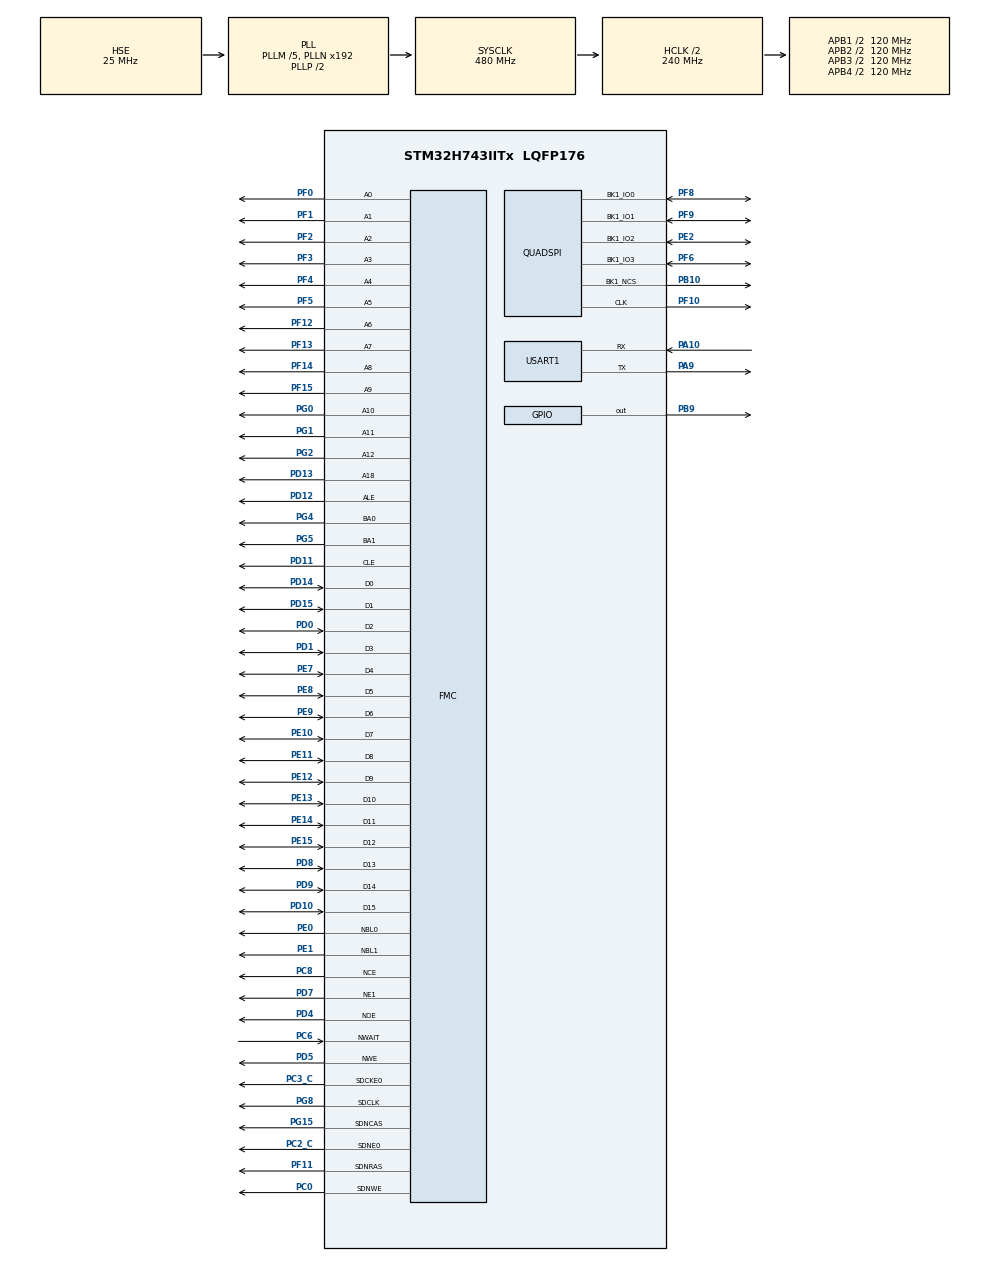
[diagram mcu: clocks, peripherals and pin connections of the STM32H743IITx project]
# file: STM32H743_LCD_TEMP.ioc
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CORTEX_M7.AccessPermission-Cortex_Memory_Protection_Unit_Region0_Settings=MPU_REGION_FULL_ACCESS
CORTEX_M7.AccessPermission-Cortex_Memory_Protection_Unit_Region1_Settings=MPU_REGION_FULL_ACCESS
CORTEX_M7.BaseAddress-Cortex_Memory_Protection_Unit_Region0_Settings=0x60000000
CORTEX_M7.BaseAddress-Cortex_Memory_Protection_Unit_Region1_Settings=0xC0000000
CORTEX_M7.CPU_DCache=Enabled
CORTEX_M7.CPU_ICache=Disabled
CORTEX_M7.Enable-Cortex_Memory_Protection_Unit_Region0_Settings=MPU_REGION_ENABLE
CORTEX_M7.Enable-Cortex_Memory_Protection_Unit_Region1_Settings=MPU_REGION_ENABLE
CORTEX_M7.IsBufferable-Cortex_Memory_Protection_Unit_Region0_Settings=MPU_ACCESS_BUFFERABLE
CORTEX_M7.IsBufferable-Cortex_Memory_Protection_Unit_Region1_Settings=MPU_ACCESS_BUFFERABLE
CORTEX_M7.MPU_Control=MPU_PRIVILEGED_DEFAULT
CORTEX_M7.Size-Cortex_Memory_Protection_Unit_Region0_Settings=MPU_REGION_SIZE_64MB
CORTEX_M7.Size-Cortex_Memory_Protection_Unit_Region1_Settings=MPU_REGION_SIZE_32MB
Dma.MEMTOMEM.0.Direction=DMA_MEMORY_TO_MEMORY
Dma.MEMTOMEM.0.EventEnable=DISABLE
Dma.MEMTOMEM.0.FIFOMode=DMA_FIFOMODE_ENABLE
Dma.MEMTOMEM.0.FIFOThreshold=DMA_FIFO_THRESHOLD_FULL
Dma.MEMTOMEM.0.Instance=DMA1_Stream0
Dma.MEMTOMEM.0.MemBurst=DMA_MBURST_SINGLE
Dma.MEMTOMEM.0.MemDataAlignment=DMA_MDATAALIGN_HALFWORD
Dma.MEMTOMEM.0.MemInc=DMA_MINC_ENABLE
Dma.MEMTOMEM.0.Mode=DMA_NORMAL
Dma.MEMTOMEM.0.PeriphBurst=DMA_PBURST_SINGLE
Dma.MEMTOMEM.0.PeriphDataAlignment=DMA_PDATAALIGN_HALFWORD
Dma.MEMTOMEM.0.PeriphInc=DMA_PINC_ENABLE
Dma.MEMTOMEM.0.Polarity=HAL_DMAMUX_REQ_GEN_RISING
Dma.MEMTOMEM.0.Priority=DMA_PRIORITY_LOW
Dma.MEMTOMEM.0.RequestNumber=1
Dma.MEMTOMEM.0.SignalID=NONE
Dma.MEMTOMEM.0.SyncEnable=DISABLE
Dma.MEMTOMEM.0.SyncPolarity=HAL_DMAMUX_SYNC_NO_EVENT
Dma.MEMTOMEM.0.SyncRequestNumber=1
Dma.MEMTOMEM.0.SyncSignalID=NONE
Dma.Request0=MEMTOMEM
FMC.BusTurnAroundDuration1=1
FMC.CASLatency1=FMC_SDRAM_CAS_LATENCY_2
FMC.DataSetupTime1=85
FMC.ExitSelfRefreshDelay1=8
FMC.ExtendedBusTurnAroundDuration1=1
FMC.ExtendedDataSetupTime1=15
FMC.ExtendedMode1=FMC_EXTENDED_MODE_ENABLE
FMC.LoadToActiveDelay1=2
FMC.RCDDelay1=2
FMC.RPDelay1=2
FMC.ReadBurst1=FMC_SDRAM_RBURST_ENABLE
FMC.ReadPipeDelay1=FMC_SDRAM_RPIPE_DELAY_1
FMC.RowCycleDelay1=6
FMC.SDClockPeriod1=FMC_SDRAM_CLOCK_PERIOD_2
FMC.SelfRefreshTime1=6
FMC.WriteFifo1=FMC_WRITE_FIFO_DISABLE
FMC.WriteRecoveryTime1=4
Mcu.Family=STM32H7
Mcu.Name=STM32H743IITx
Mcu.Package=LQFP176
NVIC.DMA1_Stream0_IRQn=true\:0\:0\:false\:false\:true\:true\:true
NVIC.PriorityGroup=NVIC_PRIORITYGROUP_4
NVIC.TIM3_IRQn=true\:0\:0\:false\:false\:true\:true\:true
PA10.Mode=Asynchronous
PA10.Signal=USART1_RX
PA13\ (JTMS/SWDIO).Mode=Serial_Wire
PA13\ (JTMS/SWDIO).Signal=DEBUG_JTMS-SWDIO
PA14\ (JTCK/SWCLK).Mode=Serial_Wire
PA14\ (JTCK/SWCLK).Signal=DEBUG_JTCK-SWCLK
PA9.Mode=Asynchronous
PA9.Signal=USART1_TX
PB10.Mode=Single Bank 1
PB10.Signal=QUADSPI_BK1_NCS
PB9.Signal=GPIO_Output
PC0.Signal=FMC_SDNWE
PC2_C.Mode=SdramChipSelect1_1
PC2_C.Signal=FMC_SDNE0
PC3_C.Mode=SdramChipSelect1_1
PC3_C.Signal=FMC_SDCKE0
PC6.Signal=FMC_NWAIT
PC8.Mode=NandChipSelect3_1
PC8.Signal=FMC_NCE
PD0.Signal=FMC_D2_DA2
PD1.Signal=FMC_D3_DA3
PD10.Signal=FMC_D15_DA15
PD11.Signal=FMC_A16_CLE
PD12.Signal=FMC_A17_ALE
PD13.Signal=FMC_A18
PD14.Signal=FMC_D0_DA0
PD15.Signal=FMC_D1_DA1
PD4.Signal=FMC_NOE
PD5.Signal=FMC_NWE
PD7.Mode=NorPsramChipSelect1_1
PD7.Signal=FMC_NE1
PD8.Signal=FMC_D13_DA13
PD9.Signal=FMC_D14_DA14
PE0.Signal=FMC_NBL0
PE1.Signal=FMC_NBL1
PE10.Signal=FMC_D7_DA7
PE11.Signal=FMC_D8_DA8
PE12.Signal=FMC_D9_DA9
PE13.Signal=FMC_D10_DA10
PE14.Signal=FMC_D11_DA11
PE15.Signal=FMC_D12_DA12
PE2.Mode=Single Bank 1
PE2.Signal=QUADSPI_BK1_IO2
PE7.Signal=FMC_D4_DA4
PE8.Signal=FMC_D5_DA5
PE9.Signal=FMC_D6_DA6
PF0.Signal=FMC_A0
PF1.Signal=FMC_A1
PF10.Mode=Single Bank 1
PF10.Signal=QUADSPI_CLK
PF11.Signal=FMC_SDNRAS
PF12.Signal=FMC_A6
PF13.Signal=FMC_A7
PF14.Signal=FMC_A8
PF15.Signal=FMC_A9
PF2.Signal=FMC_A2
PF3.Signal=FMC_A3
PF4.Signal=FMC_A4
PF5.Signal=FMC_A5
PF6.Mode=Single Bank 1
PF6.Signal=QUADSPI_BK1_IO3
PF8.Mode=Single Bank 1
PF8.Signal=QUADSPI_BK1_IO0
PF9.Mode=Single Bank 1
PF9.Signal=QUADSPI_BK1_IO1
PG0.Signal=FMC_A10
PG1.Signal=FMC_A11
PG15.Signal=FMC_SDNCAS
PG2.Signal=FMC_A12
PG4.Signal=FMC_A14_BA0
PG5.Signal=FMC_A15_BA1
PG8.Signal=FMC_SDCLK
PH0-OSC_IN\ (PH0).Mode=HSE-External-Oscillator
PH0-OSC_IN\ (PH0).Signal=RCC_OSC_IN
PH1-OSC_OUT\ (PH1).Mode=HSE-External-Oscillator
PH1-OSC_OUT\ (PH1).Signal=RCC_OSC_OUT
ProjectManager.HeapSize=0x800
ProjectManager.StackSize=0x800
ProjectManager.TargetToolchain=MDK-ARM V5.32
RCC.ADCFreq_Value=220000000
RCC.APB1Freq_Value=120000000
RCC.APB2Freq_Value=120000000
RCC.APB3Freq_Value=120000000
RCC.APB4Freq_Value=120000000
RCC.CortexFreq_Value=480000000
RCC.D1PPRE=RCC_APB3_DIV2
RCC.D2PPRE1=RCC_APB1_DIV2
RCC.D2PPRE2=RCC_APB2_DIV2
RCC.D3PPRE=RCC_APB4_DIV2
RCC.DIVM1=5
RCC.DIVM2=5
RCC.DIVN1=192
RCC.DIVN2=88
RCC.FMCCLockSelection=RCC_FMCCLKSOURCE_PLL2
RCC.HCLKFreq_Value=240000000
RCC.HPRE=RCC_HCLK_DIV2
RCC.PLL2FRACN=0
RCC.PLL3FRACN=0
RCC.PLLFRACN=0
RCC.PLLSourceVirtual=RCC_PLLSOURCE_HSE
RCC.PWR_Regulator_Voltage_Scale=PWR_REGULATOR_VOLTAGE_SCALE0
RCC.SYSCLKFreq_VALUE=480000000
RCC.SYSCLKSource=RCC_SYSCLKSOURCE_PLLCLK
RCC.USBFreq_Value=480000000
SH.FMC_A0.0=FMC_A0,13b-sda1
SH.FMC_A1.0=FMC_A1,13b-sda1
SH.FMC_A10.0=FMC_A10,13b-sda1
SH.FMC_A11.0=FMC_A11,13b-sda1
SH.FMC_A12.0=FMC_A12,13b-sda1
SH.FMC_A14_BA0.0=FMC_BA0,FourSdramBanks1
SH.FMC_A15_BA1.0=FMC_BA1,FourSdramBanks1
SH.FMC_A16_CLE.0=FMC_CLE,8b-dmux1
SH.FMC_A17_ALE.0=FMC_ALE,8b-dmux1
SH.FMC_A18.0=FMC_A18,A18_1
SH.FMC_A2.0=FMC_A2,13b-sda1
SH.FMC_A3.0=FMC_A3,13b-sda1
SH.FMC_A4.0=FMC_A4,13b-sda1
SH.FMC_A5.0=FMC_A5,13b-sda1
SH.FMC_A6.0=FMC_A6,13b-sda1
SH.FMC_A7.0=FMC_A7,13b-sda1
SH.FMC_A8.0=FMC_A8,13b-sda1
SH.FMC_A9.0=FMC_A9,13b-sda1
SH.FMC_D0_DA0.0=FMC_D0,16b-d1
SH.FMC_D0_DA0.1=FMC_D0,sd-16b-d1
SH.FMC_D0_DA0.2=FMC_D0,8b-dmux1
SH.FMC_D10_DA10.0=FMC_D10,16b-d1
SH.FMC_D10_DA10.1=FMC_D10,sd-16b-d1
SH.FMC_D11_DA11.0=FMC_D11,16b-d1
SH.FMC_D11_DA11.1=FMC_D11,sd-16b-d1
SH.FMC_D12_DA12.0=FMC_D12,16b-d1
SH.FMC_D12_DA12.1=FMC_D12,sd-16b-d1
SH.FMC_D13_DA13.0=FMC_D13,16b-d1
SH.FMC_D13_DA13.1=FMC_D13,sd-16b-d1
SH.FMC_D14_DA14.0=FMC_D14,16b-d1
SH.FMC_D14_DA14.1=FMC_D14,sd-16b-d1
SH.FMC_D15_DA15.0=FMC_D15,16b-d1
SH.FMC_D15_DA15.1=FMC_D15,sd-16b-d1
SH.FMC_D1_DA1.0=FMC_D1,16b-d1
SH.FMC_D1_DA1.1=FMC_D1,sd-16b-d1
SH.FMC_D1_DA1.2=FMC_D1,8b-dmux1
SH.FMC_D2_DA2.0=FMC_D2,16b-d1
SH.FMC_D2_DA2.1=FMC_D2,sd-16b-d1
SH.FMC_D2_DA2.2=FMC_D2,8b-dmux1
SH.FMC_D3_DA3.0=FMC_D3,16b-d1
SH.FMC_D3_DA3.1=FMC_D3,sd-16b-d1
SH.FMC_D3_DA3.2=FMC_D3,8b-dmux1
SH.FMC_D4_DA4.0=FMC_D4,16b-d1
SH.FMC_D4_DA4.1=FMC_D4,sd-16b-d1
SH.FMC_D4_DA4.2=FMC_D4,8b-dmux1
SH.FMC_D5_DA5.0=FMC_D5,16b-d1
SH.FMC_D5_DA5.1=FMC_D5,sd-16b-d1
SH.FMC_D5_DA5.2=FMC_D5,8b-dmux1
SH.FMC_D6_DA6.0=FMC_D6,16b-d1
SH.FMC_D6_DA6.1=FMC_D6,sd-16b-d1
SH.FMC_D6_DA6.2=FMC_D6,8b-dmux1
SH.FMC_D7_DA7.0=FMC_D7,16b-d1
SH.FMC_D7_DA7.1=FMC_D7,sd-16b-d1
SH.FMC_D7_DA7.2=FMC_D7,8b-dmux1
SH.FMC_D8_DA8.0=FMC_D8,16b-d1
SH.FMC_D8_DA8.1=FMC_D8,sd-16b-d1
SH.FMC_D9_DA9.0=FMC_D9,16b-d1
SH.FMC_D9_DA9.1=FMC_D9,sd-16b-d1
SH.FMC_NBL0.0=FMC_NBL0,Sd2ByteEnable1
SH.FMC_NBL1.0=FMC_NBL1,Sd2ByteEnable1
SH.FMC_NOE.0=FMC_NOE,Lcd1
SH.FMC_NOE.1=FMC_NOE,8b-dmux1
SH.FMC_NWAIT.0=FMC_NWAIT,Wait1
SH.FMC_NWE.0=FMC_NWE,Lcd1
SH.FMC_NWE.1=FMC_NWE,8b-dmux1
SH.FMC_SDCLK.0=FMC_SDCLK,13b-sda1
SH.FMC_SDNCAS.0=FMC_SDNCAS,13b-sda1
SH.FMC_SDNRAS.0=FMC_SDNRAS,13b-sda1
SH.FMC_SDNWE.0=FMC_SDNWE,13b-sda1
TIM3.AutoReloadPreload=TIM_AUTORELOAD_PRELOAD_ENABLE
TIM3.Period=1000-1
TIM3.Prescaler=240-1
TIM3.TIM_MasterOutputTrigger=TIM_TRGO_UPDATE
USART1.VirtualMode-Asynchronous=VM_ASYNC
VP_TIM3_VS_ClockSourceINT.Mode=Internal
board=custom

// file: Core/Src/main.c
/* USER CODE BEGIN Header */
/**
  ******************************************************************************
  * @file           : main.c
  * @brief          : Main program body
  ******************************************************************************
  * @attention
  *
  * <h2><center>&copy; Copyright (c) 2023 STMicroelectronics.
  * All rights reserved.</center></h2>
  *
  * This software component is licensed by ST under BSD 3-Clause license,
  * the "License"; You may not use this file except in compliance with the
  * License. You may obtain a copy of the License at:
  *                        opensource.org/licenses/BSD-3-Clause
  *
  ******************************************************************************
  */
/* USER CODE END Header */
#include "main.h"
#include "dma.h"
#include "tim.h"
#include "usart.h"
#include "gpio.h"
#include "fmc.h"

/* USER CODE BEGIN Includes */
#include "stdio.h"
#include "malloc.h"
#include "ftl.h"
#include "ff.h"
#include "exfuns.h"
#include "nand.h"
#include "delay.h"
#include "mpu.h"
#include "sdram.h"
#include "lvgl.h"
#include "lv_port_disp.h"
#include "lv_port_indev.h"
#include "lv_demos.h"
/* USER CODE END Includes */

/* USER CODE BEGIN PTD */
#define __FPU_PRESENT    1U
/* USER CODE END PTD */

void SystemClock_Config(void);
static void MPU_Config(void);

/* USER CODE BEGIN 0 */
//开启fpu
void fpu_enable(void)
{
  #if (__FPU_PRESENT == 1) && (__FPU_USED == 1)
	SCB->CPACR|=((3UL<<10*2)|(3UL<<11*2));
  #endif
}

void getfree()
{
  uint32_t total, free;
  printf("nandflash获取容量%d\n",exfuns_get_free((uint8_t *)"1:", &total, &free));
  printf("NANDFLASH总容量为:%dM,剩余容量为:%dM\r\n", total>>10, free>>10);
}
/* USER CODE END 0 */

int main(void)
{
  /* USER CODE BEGIN 1 */
  mpu_memory_protection();//初始化mpu
  /* USER CODE END 1 */

  /* MPU Configuration--------------------------------------------------------*/
  //  MPU_Config();

  /* Enable D-Cache---------------------------------------------------------*/
  SCB_EnableDCache();

  /* MCU Configuration--------------------------------------------------------*/

  /* Reset of all peripherals, Initializes the Flash interface and the Systick. */
  HAL_Init();

  /* Configure the system clock */
  SystemClock_Config();

  /* USER CODE BEGIN SysInit */
  SCB->CACR|=1<<2;   //开启透写缓存
  fpu_enable();//开启fpu
  /* USER CODE END SysInit */

  /* Initialize all configured peripherals */
  MX_GPIO_Init();
  MX_FMC_Init();
  MX_USART1_UART_Init();
  MX_DMA_Init();
  MX_TIM3_Init();
    /* USER CODE BEGIN 2 */
  delay_init(480);
  sdram_init();//初始化sdram
  my_mem_init(SRAMEX); // 初始化外部内存池(SDRAM)
  ftl_init();//初始化nand_flash
  exfuns_init();//初始化文件系统
  f_mount(fs[1],"1:",1);//挂载文件系统
  getfree();//获取剩余容量
  HAL_GPIO_WritePin(GPIOB,GPIO_PIN_9,1);//点亮背光
	lv_init();//初始化lvgl
  lv_port_disp_init();//初始化显示屏
  lv_port_indev_init();//初始化触摸屏
  HAL_TIM_Base_Start_IT(&htim3);//初始化定时器
  lv_demo_widgets();
  /* USER CODE END 2 */

  /* Infinite loop */
  while (1)
  {

    /* USER CODE BEGIN 3 */
		lv_timer_handler();
  }
  /* USER CODE END 3 */
}

void SystemClock_Config(void)
{
  RCC_OscInitTypeDef RCC_OscInitStruct = {0};
  RCC_ClkInitTypeDef RCC_ClkInitStruct = {0};

  /** Supply configuration update enable
  */
  HAL_PWREx_ConfigSupply(PWR_LDO_SUPPLY);
  /** Configure the main internal regulator output voltage
  */
  __HAL_PWR_VOLTAGESCALING_CONFIG(PWR_REGULATOR_VOLTAGE_SCALE0);

  while(!__HAL_PWR_GET_FLAG(PWR_FLAG_VOSRDY)) {}
  /** Macro to configure the PLL clock source
  */
  __HAL_RCC_PLL_PLLSOURCE_CONFIG(RCC_PLLSOURCE_HSE);
  /** Initializes the RCC Oscillators according to the specified parameters
  * in the RCC_OscInitTypeDef structure.
  */
  RCC_OscInitStruct.OscillatorType = RCC_OSCILLATORTYPE_HSE;
  RCC_OscInitStruct.HSEState = RCC_HSE_ON;
  RCC_OscInitStruct.PLL.PLLState = RCC_PLL_ON;
  RCC_OscInitStruct.PLL.PLLSource = RCC_PLLSOURCE_HSE;
  RCC_OscInitStruct.PLL.PLLM = 5;
  RCC_OscInitStruct.PLL.PLLN = 192;
  RCC_OscInitStruct.PLL.PLLP = 2;
  RCC_OscInitStruct.PLL.PLLQ = 2;
  RCC_OscInitStruct.PLL.PLLR = 2;
  RCC_OscInitStruct.PLL.PLLRGE = RCC_PLL1VCIRANGE_2;
  RCC_OscInitStruct.PLL.PLLVCOSEL = RCC_PLL1VCOWIDE;
  RCC_OscInitStruct.PLL.PLLFRACN = 0;
  if (HAL_RCC_OscConfig(&RCC_OscInitStruct) != HAL_OK)
  {
    Error_Handler();
  }
  /** Initializes the CPU, AHB and APB buses clocks
  */
  RCC_ClkInitStruct.ClockType = RCC_CLOCKTYPE_HCLK|RCC_CLOCKTYPE_SYSCLK
                              |RCC_CLOCKTYPE_PCLK1|RCC_CLOCKTYPE_PCLK2
                              |RCC_CLOCKTYPE_D3PCLK1|RCC_CLOCKTYPE_D1PCLK1;
  RCC_ClkInitStruct.SYSCLKSource = RCC_SYSCLKSOURCE_PLLCLK;
  RCC_ClkInitStruct.SYSCLKDivider = RCC_SYSCLK_DIV1;
  RCC_ClkInitStruct.AHBCLKDivider = RCC_HCLK_DIV2;
  RCC_ClkInitStruct.APB3CLKDivider = RCC_APB3_DIV2;
  RCC_ClkInitStruct.APB1CLKDivider = RCC_APB1_DIV2;
  RCC_ClkInitStruct.APB2CLKDivider = RCC_APB2_DIV2;
  RCC_ClkInitStruct.APB4CLKDivider = RCC_APB4_DIV2;

  if (HAL_RCC_ClockConfig(&RCC_ClkInitStruct, FLASH_LATENCY_4) != HAL_OK)
  {
    Error_Handler();
  }
}

/* USER CODE BEGIN 4 */
int fputc(int ch, FILE *f)
{
 HAL_UART_Transmit(&huart1, (uint8_t *)&ch, 1, 0xffff);
 return ch;

}
//避免进入半主机模式
void _sys_exit(int x)
{
 x = x;
}
/* USER CODE END 4 */

/* MPU Configuration */

void MPU_Config(void)
{
  MPU_Region_InitTypeDef MPU_InitStruct = {0};

  /* Disables the MPU */
  HAL_MPU_Disable();
  /** Initializes and configures the Region and the memory to be protected
  */
  MPU_InitStruct.Enable = MPU_REGION_ENABLE;
  MPU_InitStruct.Number = MPU_REGION_NUMBER0;
  MPU_InitStruct.BaseAddress = 0x60000000;
  MPU_InitStruct.Size = MPU_REGION_SIZE_64MB;
  MPU_InitStruct.SubRegionDisable = 0x0;
  MPU_InitStruct.TypeExtField = MPU_TEX_LEVEL0;
  MPU_InitStruct.AccessPermission = MPU_REGION_FULL_ACCESS;
  MPU_InitStruct.DisableExec = MPU_INSTRUCTION_ACCESS_ENABLE;
  MPU_InitStruct.IsShareable = MPU_ACCESS_NOT_SHAREABLE;
  MPU_InitStruct.IsCacheable = MPU_ACCESS_NOT_CACHEABLE;
  MPU_InitStruct.IsBufferable = MPU_ACCESS_BUFFERABLE;

  HAL_MPU_ConfigRegion(&MPU_InitStruct);
  /** Initializes and configures the Region and the memory to be protected
  */
  MPU_InitStruct.Number = MPU_REGION_NUMBER1;
  MPU_InitStruct.BaseAddress = 0xC0000000;
  MPU_InitStruct.Size = MPU_REGION_SIZE_32MB;

  HAL_MPU_ConfigRegion(&MPU_InitStruct);
  /* Enables the MPU */
  HAL_MPU_Enable(MPU_PRIVILEGED_DEFAULT);

}

void Error_Handler(void)
{
  __disable_irq();
  while (1)
  {
  }
}

/************************ (C) COPYRIGHT STMicroelectronics *****END OF FILE****/
